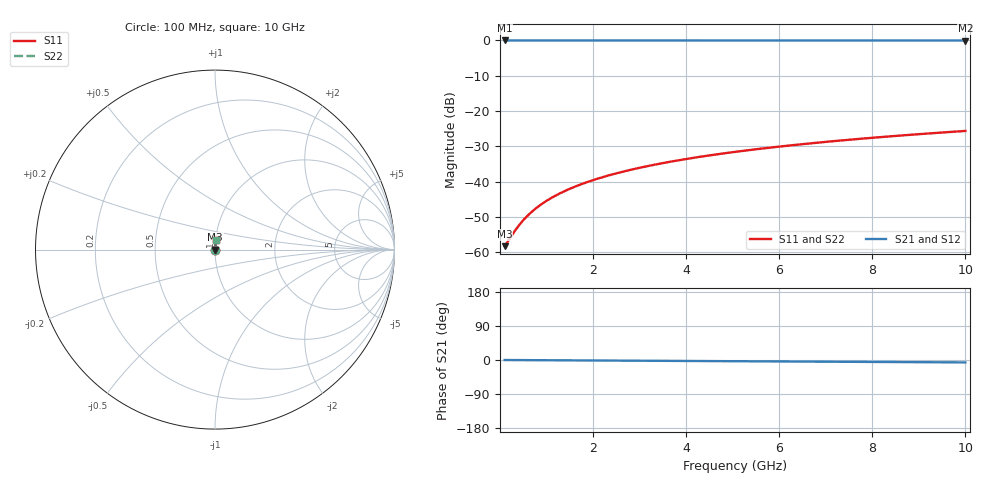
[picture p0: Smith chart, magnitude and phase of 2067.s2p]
# Hz S RI R 50.00
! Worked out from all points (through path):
!   100 points, 100 MHz to 10 GHz, reference 50 ohm
!   highest |S21| = -0.01 dB at 100 MHz (marker M1); lowest = 0.0 dB at 10 GHz (marker M2)
!   lowest |S11| = -58.3 dB at 100 MHz (marker M3), VSWR 1.00, Z = 50.1 + j0.0521 ohm
!   |S11| at or under -10 dB: start of sweep to end of sweep
!   |S22| runs from -58.3 to -25.6 dB; largest |S21 - S12| = 0
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1e8  0.0011 0.00052  0.9989 -0.00111  0.9989 -0.00111  0.0011 0.00052
3e8  0.00112 0.00156  0.9989 -0.00332  0.9989 -0.00332  0.00112 0.00156
4e8  0.00113 0.00208  0.9989 -0.00443  0.9989 -0.00443  0.00113 0.00208
5e8  0.00113 0.0026  0.9989 -0.00554  0.9989 -0.00554  0.00113 0.0026
6e8  0.00114 0.00312  0.9988 -0.00665  0.9988 -0.00665  0.00114 0.00312
7e8  0.00115 0.00364  0.9988 -0.00776  0.9988 -0.00776  0.00115 0.00364
8e8  0.00117 0.00416  0.9988 -0.00886  0.9988 -0.00886  0.00117 0.00416
1e9  0.00119 0.0052  0.9988 -0.0111  0.9988 -0.0111  0.00119 0.0052
1.2e9  0.00122 0.00624  0.9987 -0.0133  0.9987 -0.0133  0.00122 0.00624
1.5e9  0.00127 0.0078  0.9987 -0.0166  0.9987 -0.0166  0.00127 0.0078
1.8e9  0.00133 0.00936  0.9986 -0.0199  0.9986 -0.0199  0.00133 0.00936
2.1e9  0.0014 0.0109  0.9985 -0.0233  0.9985 -0.0233  0.0014 0.0109
2.5e9  0.00152 0.013  0.9984 -0.0277  0.9984 -0.0277  0.00152 0.013
2.9e9  0.00165 0.0151  0.9982 -0.0321  0.9982 -0.0321  0.00165 0.0151
3.4e9  0.00183 0.0177  0.9979 -0.0377  0.9979 -0.0377  0.00183 0.0177
4.2e9  0.00219 0.0218  0.9975 -0.0466  0.9975 -0.0466  0.00219 0.0218
5.1e9  0.00268 0.0265  0.9968 -0.0565  0.9968 -0.0565  0.00268 0.0265
5.9e9  0.0032 0.0306  0.9962 -0.0654  0.9962 -0.0654  0.0032 0.0306
6.7e9  0.00379 0.0348  0.9954 -0.0743  0.9954 -0.0743  0.00379 0.0348
7.5e9  0.00445 0.0389  0.9945 -0.0831  0.9945 -0.0831  0.00445 0.0389
8.4e9  0.00529 0.0435  0.9934 -0.0931  0.9934 -0.0931  0.00529 0.0435
1e10  0.00701 0.0517  0.9912 -0.1109  0.9912 -0.1109  0.00701 0.0517
